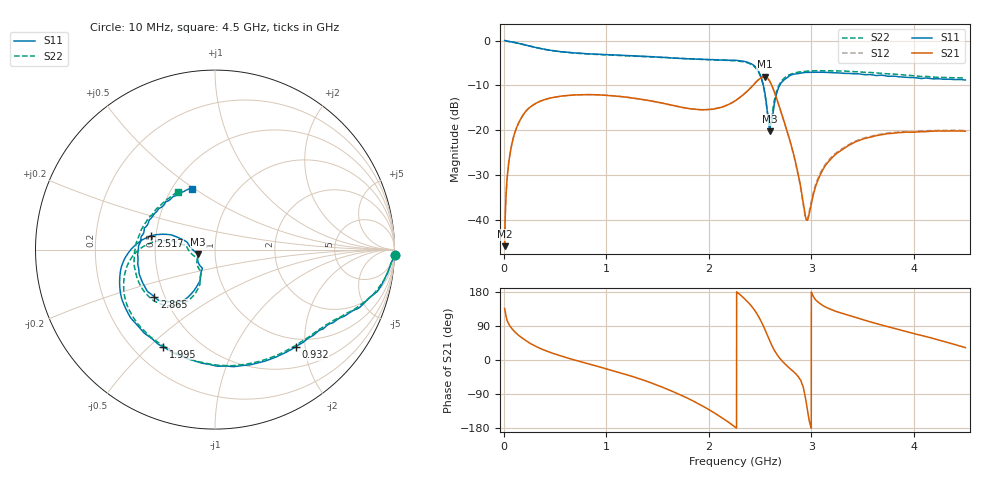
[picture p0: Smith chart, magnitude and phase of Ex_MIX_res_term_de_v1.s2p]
! Created Tue Apr 16 19:57:07 2013
# ghz S ma R 50
! 2 Port Network Data from SP1.SP block
! freq  magS11  angS11  magS21  angS21  magS12  angS12  magS22  angS22
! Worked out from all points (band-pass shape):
!   4491 points, 10 MHz to 4.5 GHz, reference 50 ohm
!   highest |S21| = -8.04 dB at 2.547 GHz (marker M1); lowest = -45.9 dB at 10 MHz (marker M2)
!   |S21| within 3 dB of the highest: 2.386 GHz to 2.632 GHz (245.6 MHz wide, 9.79 % of centre)
!   lowest |S11| = -20.2 dB at 2.592 GHz (marker M3), VSWR 1.22, Z = 41.4 - j2.24 ohm
!   |S11| at or under -10 dB: 2.532 GHz to 2.69 GHz (158.1 MHz wide, 6.06 % of centre)
!   |S22| runs from -19.3 to 0.0 dB; largest |S21 - S12| = 0.0021
!   S11 on the Smith chart (normalised r, x): 10 MHz: -10, -64; 932 MHz: 0.84, -1.82; 1.995 GHz: 0.32, -0.55; 2.517 GHz: 0.47, +0.08; 2.865 GHz: 0.44, -0.28; 4.5 GHz: 0.62, +0.49
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0.01  1.005 -1.8  0.00508 135.9  0.00511 135.4  1.005 -1.7
0.039  0.9843 -4.3  0.03301 101.4  0.03309 101.4  0.9835 -4.5
0.064  0.9752 -6.4  0.05563 88.7  0.05552 88.6  0.9745 -6.7
0.176  0.9167 -15.9  0.1394 59.0  0.139 59.0  0.9151 -15.9
0.365  0.8146 -26.8  0.2126 29.5  0.2127 29.5  0.8128 -26.0
0.759  0.7223 -42.0  0.2488 -5.0  0.249 -5.1  0.7171 -41.9
0.932  0.7039 -50.3  0.2483 -18.0  0.2481 -18.1  0.6992 -49.3
1.507  0.6539 -83.5  0.2053 -67.3  0.2051 -67.8  0.654 -81.4
1.995  0.6137 -118.2  0.17 -130.1  0.1705 -130.5  0.6131 -114.3
2.255  0.6046 -140.9  0.2121 -176.7  0.213 -177.0  0.596 -136.9
2.427  0.5407 -167.0  0.3138 138.4  0.3143 138.1  0.5306 -162.7
2.517  0.3662 168.2  0.3892 98.0  0.3891 97.8  0.3585 174.0
2.547  0.2581 161.4  0.3963 80.4  0.3957 80.3  0.2498 168.5
2.592  0.09718 -164.0  0.3568 51.6  0.3556 51.4  0.1082 -154.1
2.696  0.3257 -121.2  0.1705 3.0  0.1691 2.8  0.3365 -119.5
2.865  0.4276 -142.0  0.0348 -42.0  0.03353 -43.0  0.4438 -139.9
2.946  0.4425 -149.0  0.01035 -107.3  0.01022 -115.9  0.4551 -146.7
3.004  0.4431 -153.5  0.01611 175.8  0.01736 172.7  0.4596 -150.9
3.096  0.443 -160.2  0.03358 146.5  0.03505 145.7  0.4622 -157.1
3.229  0.4379 -168.7  0.05308 129.2  0.05459 128.7  0.4591 -165.1
3.752  0.4002 158.8  0.09185 87.1  0.09329 86.7  0.426 165.9
4.5  0.3637 111.0  0.09749 32.7  0.09916 32.9  0.3825 122.5
